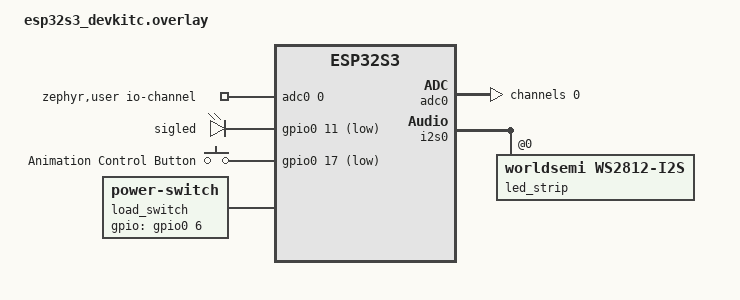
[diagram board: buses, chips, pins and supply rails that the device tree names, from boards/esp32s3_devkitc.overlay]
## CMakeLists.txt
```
#-------------------------------------------------------------------------------
# Zephyr Example Application
#
# Copyright (c) 2021 Nordic Semiconductor ASA
# SPDX-License-Identifier: Apache-2.0

cmake_minimum_required(VERSION 3.28)
set(DTC_OVERLAY_FILE "boards/esp32s3_devkitc.overlay")
set(CMAKE_CXX_STANDARD 20)
find_package(Zephyr REQUIRED HINTS $ENV{ZEPHYR_BASE})

project(app C CXX)

# C++ level (matches your original)
target_compile_features(app PUBLIC cxx_std_20)

# Make all headers under src/ visible project-wide
target_include_directories(app PUBLIC ${CMAKE_CURRENT_SOURCE_DIR}/src)

# Hand off to src/
add_subdirectory(src)
```

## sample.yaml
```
# This file is provided so that the application can be compiled using Twister,
# the Zephyr testing tool. In this file, multiple combinations can be specified,
# so that you can easily test all of them locally or in CI.
sample:
  description: Example application
  name: example-application 
common:
  build_only: true
  integration_platforms:
    - esp32s3_devkitc
tests:
  app.default: {}
  app.debug:
    extra_overlay_confs:
      - debug.conf
```

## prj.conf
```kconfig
# Copyright (c) 2021 Nordic Semiconductor ASA
# SPDX-License-Identifier: Apache-2.0
#
# This file contains selected Kconfig options for the application.

CONFIG_CPP=y
CONFIG_STD_CPP20=y
CONFIG_REQUIRES_FULL_LIBCPP=y
CONFIG_NEWLIB_LIBC=y
CONFIG_NEWLIB_LIBC_FLOAT_PRINTF=y
CONFIG_CBPRINTF_FP_SUPPORT=y
CONFIG_COMMON_LIBC_MALLOC=y

CONFIG_TIMING_FUNCTIONS=y

CONFIG_ZBUS=y
CONFIG_ZBUS_CHANNEL_NAME=y
CONFIG_ZBUS_OBSERVER_NAME=y

CONFIG_GPIO=y
CONFIG_ADC=y
CONFIG_LED_STRIP=y

CONFIG_CMSIS_DSP=y
CONFIG_CMSIS_DSP_STATISTICS=y
CONFIG_CMSIS_DSP_FILTERING=y
CONFIG_CMSIS_DSP_FASTMATH=y
CONFIG_CMSIS_DSP_COMPLEXMATH=y
CONFIG_CMSIS_DSP_TRANSFORM=y
```

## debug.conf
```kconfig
# Copyright (c) 2021 Nordic Semiconductor ASA
# SPDX-License-Identifier: Apache-2.0
#
# This is a Kconfig fragment which can be used to enable debug-related options
# in the application. See the README for more details.

# compiler
CONFIG_DEBUG_OPTIMIZATIONS=y
CONFIG_LTO=n

# logging
CONFIG_LOG=y
CONFIG_CBPRINTF_FP_SUPPORT=y
CONFIG_APP_LOG_LEVEL_DBG=y
CONFIG_LED_STRIP_LOG_LEVEL_DBG=y

CONFIG_ZBUS_LOG_LEVEL_INF=y

CONFIG_THREAD_MONITOR=y
CONFIG_THREAD_NAME=y
```

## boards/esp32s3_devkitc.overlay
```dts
/*
 * Copyright (c) 2021 Nordic Semiconductor ASA
 * SPDX-License-Identifier: Apache-2.0
 */

/* This devicetree overlay file will be automatically picked by the Zephyr
 * build system when building the sample for the nucleo_f302r8 board. It shows
 * how the example-application can be built on sample boards already provided
 * by Zephyr.
 */

#include <zephyr/dt-bindings/led/led.h>

/ {
	zephyr,user {
		io-channels = <&adc0 0>;
	};

	leds {
		compatible = "gpio-leds";
		sigled: sig_led {
			gpios = <&gpio0 11 GPIO_ACTIVE_LOW>;
		};
	};

	buttons {
		compatible = "gpio-keys";
		button1: button_1 {
			gpios = < &gpio0 17 (GPIO_PULL_UP | GPIO_ACTIVE_LOW) >;
			label = "Animation Control Button";
		};
	};

	load_switch: load_switch {
		compatible = "power-switch";
		gpios = <&gpio0 6 GPIO_ACTIVE_HIGH>;
	};

	aliases {
		led-strip = &led_strip;
		ctrl-btn = &button1;
		//led-strip-spi = &led_strip_spi;
	};
};

&adc0 {
	status = "okay";
	#address-cells = <1>;
	#size-cells = <0>;

	channel@0 {
		reg = <0>;
		zephyr,gain = "ADC_GAIN_1_4";
		zephyr,reference = "ADC_REF_INTERNAL";
		zephyr,acquisition-time = <ADC_ACQ_TIME_DEFAULT>;
		zephyr,resolution = <12>;
	};
};

&i2s0_default {
	group1 {
		pinmux = <I2S0_O_SD_GPIO38>;
	};
};

i2s_led: &i2s0 {
	status = "okay";

	dmas = <&dma 3>;
	dma-names = "tx";

	led_strip: ws2812@0 {
		compatible = "worldsemi,ws2812-i2s";

		reg = <0>;
		chain-length = <36>;
		color-mapping = <LED_COLOR_ID_GREEN
						 LED_COLOR_ID_RED
						 LED_COLOR_ID_BLUE>;
		lrck-period = <7>;
	};
};

&gpio0 {
	status = "okay";
};

&dma {
	status = "okay";
};
```

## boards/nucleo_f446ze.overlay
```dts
/ {
	zephyr,user {
		io-channels = <&adc1 0>;
	};
};

&adc1 {
	status = "okay";
	#address-cells = <1>;
	#size-cells = <0>;

	channel@1 {
		reg = <1>;
		zephyr,gain = "ADC_GAIN_1";
		zephyr,reference = "ADC_REF_INTERNAL";
		zephyr,acquisition-time = <ADC_ACQ_TIME_DEFAULT>;
		zephyr,resolution = <12>;
	};
};
```

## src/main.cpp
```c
/*
 * Copyright (c) 2021 Nordic Semiconductor ASA
 * SPDX-License-Identifier: Apache-2.0
 */

#include <autoconf.h>
#include <zephyr/kernel.h>
#include <zephyr/drivers/sensor.h>
#include <zephyr/drivers/adc.h>
#include <zephyr/logging/log.h>
#include "zephyr/arch/xtensa/thread_stack.h"
#include "zephyr/drivers/gpio.h"

#include "Constants.hpp"

#include "Core/MessagePublisher.hpp"
#include "Core/MessageSubscriber.hpp"
#include "Core/ThreadWorker.hpp"
#include "Modules/AudioSamplingModule.hpp"
#include "Modules/AudioProcessingModule.hpp"
#include "Modules/VisualizationModule.hpp"
#include "Modules/InputModule.hpp"
#include "ADC/AdcReader.hpp"
#include "Core/EventTypes.hpp"
#include "Visualization/LedControl.hpp"
#include "Visualization/LedStripController.hpp"
#include "SignalProcessing/FftProcessor.hpp"
#include "SignalProcessing/LpFilter.hpp"


#include "Utils/Logger.hpp"
#include "Utils/PeriodicTimer.hpp"
#include "Utils/Button.hpp"
#include "Utils/LoadSwitch.hpp"

using Adc::AdcReader;

LOG_MODULE_REGISTER(App, CONFIG_APP_LOG_LEVEL);


//////////////////////////////////////////////////////////////////////////////////
/************************ device constants **************************************/
//////////////////////////////////////////////////////////////////////////////////

/* Data of ADC io-channels specified in devicetree. */
static constexpr adc_dt_spec adc_channels[] = {
    DT_FOREACH_PROP_ELEM(DT_PATH(zephyr_user), io_channels,
                         DT_SPEC_AND_COMMA)
};

static const device* const strip = DEVICE_DT_GET(STRIP_NODE);
static gpio_dt_spec ctrlButton = GPIO_DT_SPEC_GET(CTRL_BTN_NODE, gpios);
static gpio_dt_spec signalLed= GPIO_DT_SPEC_GET(DT_NODELABEL(sigled), gpios);

#if !DT_NODE_EXISTS(DT_NODELABEL(loadswitch))
#error "Overlay for power output node not properly defined."
#endif
static gpio_dt_spec loadSwitch = GPIO_DT_SPEC_GET_OR(DT_NODELABEL(loadswitch), gpios, {0});

ZBUS_SUBSCRIBER_DEFINE(app_sub, 8);

ZBUS_CHAN_DEFINE_WITH_ID(
    AudioChannelBus,
    0x348756834,
    Core::EventTypes::AudioFrame,
    NULL, NULL,
    ZBUS_OBSERVERS(app_sub),
    ZBUS_MSG_INIT({})
);

ZBUS_CHAN_DEFINE_WITH_ID(
    BeatChannelBus,
    0x348756835,
    Core::EventTypes::BeatEvent,
    NULL, NULL,
    ZBUS_OBSERVERS(app_sub),
    ZBUS_MSG_INIT({})
);

ZBUS_CHAN_DEFINE_WITH_ID(
    ButtonChannelBus,
    0x348756836,
    Core::EventTypes::ButtonEvent,
    NULL, NULL,
    ZBUS_OBSERVERS(app_sub),
    ZBUS_MSG_INIT({})
);


//////////////////////////////////////////////////////////////////////////////////
/****************************** DI **********************************************/
//////////////////////////////////////////////////////////////////////////////////

auto publisher = zbus_cpp::MessagePublisher(
    zbus_cpp::Topic<Core::EventTypes::AudioFrame>{&AudioChannelBus},
    zbus_cpp::Topic<Core::EventTypes::BeatEvent>{&BeatChannelBus},
    zbus_cpp::Topic<Core::EventTypes::ButtonEvent>{&ButtonChannelBus});

K_THREAD_STACK_DEFINE(messaging_thread_stack, Constants::SamplingFrameSize * 4 + 2048);
auto a = ThreadWorker(*messaging_thread_stack, K_THREAD_STACK_SIZEOF(messaging_thread_stack));
auto subscriber = zbus_cpp::MessageSubscriber(
    a,
    &app_sub,
    zbus_cpp::Topic<Core::EventTypes::AudioFrame>{&AudioChannelBus},
    zbus_cpp::Topic<Core::EventTypes::BeatEvent>{&BeatChannelBus},
    zbus_cpp::Topic<Core::EventTypes::ButtonEvent>{&ButtonChannelBus});

auto timer = PeriodicTimer();
auto adcLogger = Logger("ADC_READER");
auto adc_reader = AdcReader(&adc_channels[0], timer, adcLogger);

auto audioSamplingLogger = Logger("AUDIO_SAMPLING");
auto audioSamplingModule = Modules::AudioSamplingModule(adc_reader, publisher, subscriber, audioSamplingLogger);

auto ledLogger = Logger("LED_CONTROL");
auto led = Visualization::LedControl(&signalLed, ledLogger);
auto ledStripLogger = Logger("LED_STRIP");
auto ledStripController = Visualization::LedStripController(strip, ledStripLogger);

auto lpFilter = LpFilter();
auto fftProcessor = FftProcessor();
auto beatDetector = BeatDetector(fftProcessor, lpFilter);
auto audioProcessingLogger = Logger("AUDIO_PROCESSING");
auto audioProcessingModule = Modules::AudioProcessingModule(publisher, subscriber, beatDetector, audioProcessingLogger);

auto visualizationLogger = Logger("VISUALIZATION");
auto frameTimer = PeriodicTimer();
auto loadSwitchLogger = Logger("LOAD_SWITCH");
auto loadSwitchControl = LoadSwitch(&loadSwitch, loadSwitchLogger);
auto animationControl = Animations::AnimationControl(frameTimer, ledStripController, led);
auto visualizationModule = Modules::VisualizationModule(subscriber, visualizationLogger, animationControl, loadSwitchControl);

auto animCtrlButton = UtilsButton::Button(ctrlButton);
auto buttonLogger = Logger("BUTTON");
auto inputModule = Modules::InputModule(publisher, animCtrlButton, buttonLogger);


///////////////////////////////////////////////////////////////////////////////////
/************************ application start **************************************/
///////////////////////////////////////////////////////////////////////////////////

int main()
{
    LOG_INF("App started.");

    subscriber.Initialize(1);
    subscriber.Start();

    //Module initialization
    inputModule.Initialize();
    audioSamplingModule.Initialize();
    audioProcessingModule.Initialize();
    visualizationModule.Initialize();

    led.Set(true);

    //Module startup
    audioProcessingModule.Start();
    audioSamplingModule.Start();
    visualizationModule.Start();

    LOG_INF("Application running...");

    //take main thread to sleep
    k_sleep(K_FOREVER);
}
```

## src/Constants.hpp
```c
//
// Created by bened on 30/12/2025.
//

#pragma once

#include <cstddef>

#include <zephyr/devicetree.h>
#include <zephyr/drivers/adc.h>

//////////////////////////////////////////////////////////////////////////////////
/************************ global constants **************************************/
//////////////////////////////////////////////////////////////////////////////////

#if !DT_NODE_EXISTS(DT_PATH(zephyr_user)) || \
!DT_NODE_HAS_PROP(DT_PATH(zephyr_user), io_channels)
#error "No suitable devicetree overlay specified"
#endif

#define DT_SPEC_AND_COMMA(node_id, prop, idx) \
ADC_DT_SPEC_GET_BY_IDX(node_id, idx),

#define STRIP_NODE		DT_ALIAS(led_strip)
#if !DT_NODE_EXISTS(DT_NODELABEL(load_switch))
#error "Overlay for power output node not properly defined."
#endif
#if DT_NODE_HAS_PROP(STRIP_NODE, chain_length)
#define STRIP_NUM_PIXELS	DT_PROP(STRIP_NODE, chain_length)
#else
#error Unable to determine length of LED strip
#endif
#define CTRL_BTN_NODE DT_ALIAS(ctrl_btn)

namespace Constants
{

    static constexpr int SamplingInterval_us = 100; //us
    static constexpr size_t SamplingFrameSize = 512;
    static constexpr size_t ChainLength = STRIP_NUM_PIXELS;
}
```
